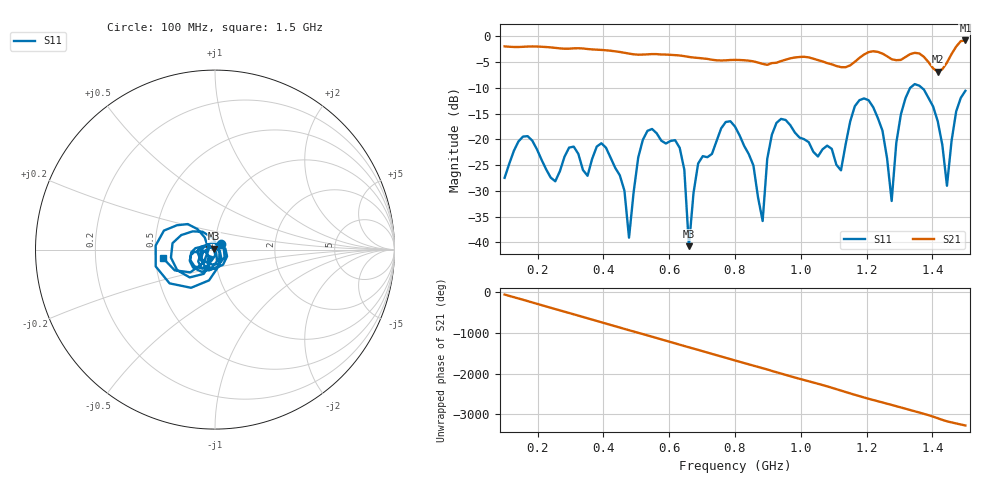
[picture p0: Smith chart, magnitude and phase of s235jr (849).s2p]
! NanoVNA-App
! Date: 2025-09-25 15:10:46
! Start: 100MHz Stop: 1,5GHz Points: 101
! S-Parameter data: F S11 S21 S12 S22
# Hz S RI R 50
!  Frequency  S11_Real  S11_Imag  S21_Real  S21_Imag  S12_Real  S12_Imag  S22_Real  S22_Imag
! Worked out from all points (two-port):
!   101 points, 100 MHz to 1.5 GHz, reference 50 ohm
!   highest |S21| = -0.82 dB at 1.5 GHz (marker M1); lowest = -6.9 dB at 1.416 GHz (marker M2)
!   |S21| within 3 dB of the highest: start of sweep to 641.3 MHz; 1.186 GHz to 1.26 GHz (73.98 MHz wide, 6.05 % of centre) (the widest 2 of 4)
!   lowest |S11| = -40.7 dB at 660 MHz (marker M3), VSWR 1.02, Z = 49.3 + j0.553 ohm
!   |S11| at or under -10 dB: start of sweep to 1.333 GHz; 1.367 GHz to end of sweep
!   S12 and S22 are empty: the file has one direction only
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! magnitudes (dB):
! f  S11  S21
! 100 MHz  -27.5  -2.0
! 156 MHz  -19.5  -2.0
! 338 MHz  -25.9  -2.4
! 408 MHz  -21.6  -2.7
! 478 MHz  -39.1  -3.4
! 520 MHz  -20.1  -3.6
! 576 MHz  -20.3  -3.5
! 632 MHz  -21.7  -3.7
! 660 MHz  -40.7  -4.0
! 688 MHz  -24.7  -4.2
! 800 MHz  -17.5  -4.6
! 884 MHz  -35.8  -5.4
! 926 MHz  -16.8  -5.1
! 1.038 GHz  -22.4  -4.4
! 1.122 GHz  -26.0  -6.0
! 1.206 GHz  -12.4  -3.1
! 1.248 GHz  -18.3  -3.4
! 1.276 GHz  -32.0  -4.5
! 1.332 GHz  -10.0  -3.5
! 1.416 GHz  -16.5  -6.9
! 1.444 GHz  -29.0  -5.1
! 1.5 GHz  -10.6  -0.8
